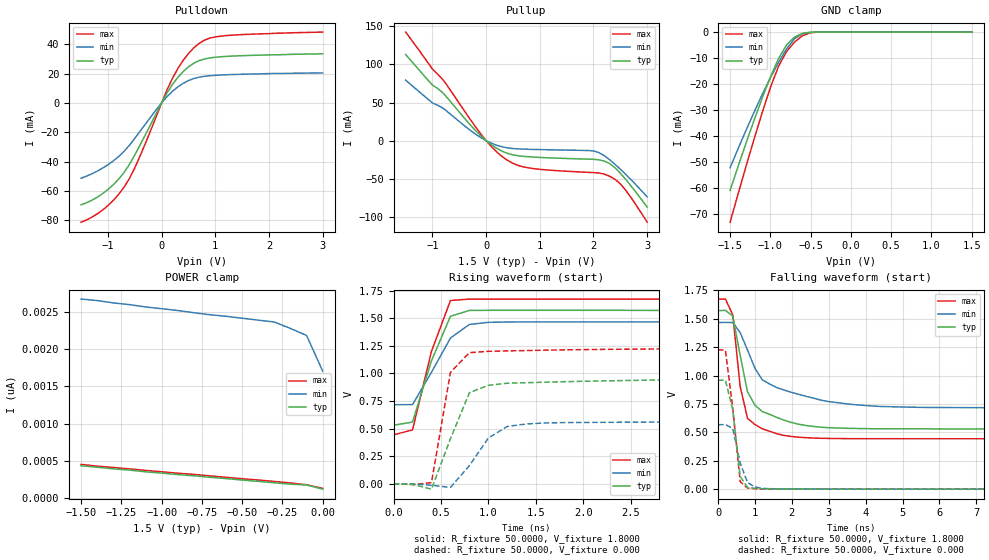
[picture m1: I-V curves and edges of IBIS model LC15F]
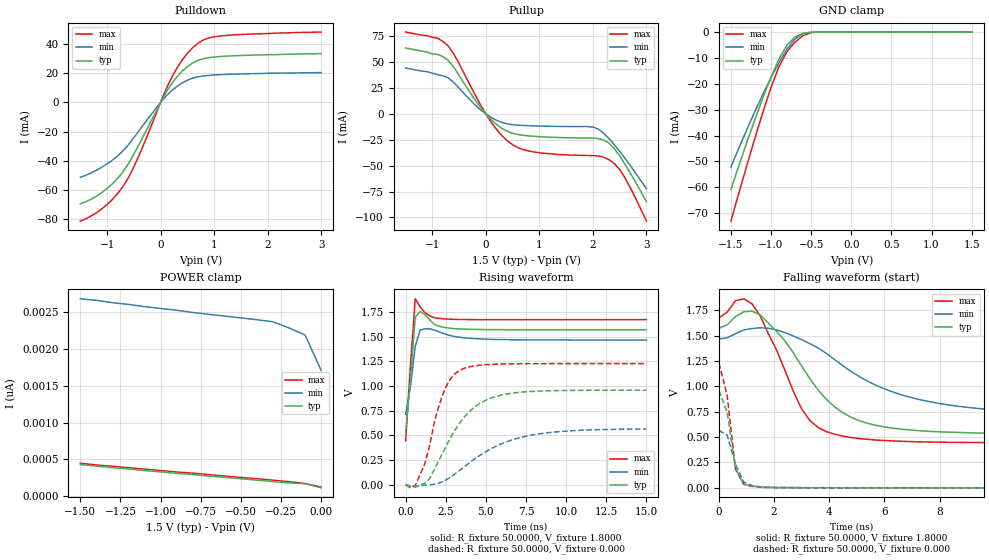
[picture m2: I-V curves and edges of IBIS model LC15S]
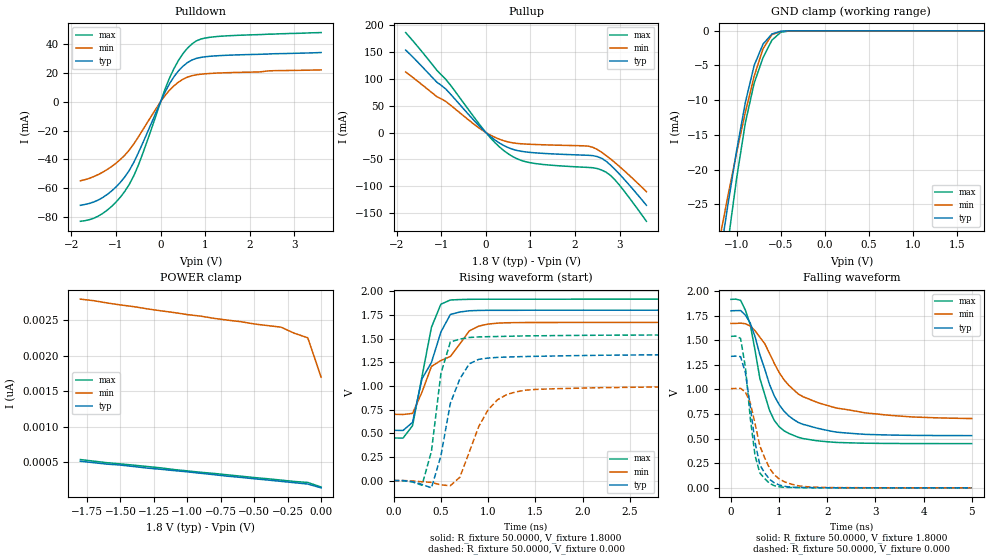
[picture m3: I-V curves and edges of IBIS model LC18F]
| Xilinx CoolRunner-II IBIS models
[IBIS ver]   2.1
[File name]   coolrun2.ibs
[File Rev]   0.3
[Date]   Oct. 30, 2003
[Source]   HSPICE simulations
[Notes]   Xilinx IBIS models for CoolRunner-II
|   The available package models are
|   XC2C32  - CP56, VQ44 and PC44
|   XC2C64  - CP56, VQ44, VQ100 and PC44
|   XC2C128 - FT256, TQ144, CP132 and VQ100
|   XC2C256 - FT256, PQ208, TQ144, CP132, and VQ100
|   XC2C384 - FG324, FT256, PQ208, and TQ144
|   XC2C512 - FG324, FT256, and PQ208
|   with CP56 being selected as a default.
|   Please make your own selection of the packages by
|   commenting out the unused ones.
|   Model names:
|   lc15f - LVCMOS 1.5V & fast slew rate
|   lc15s - LVCMOS 1.5V & slow slew rate
|   lc18f - LVCMOS 1.8V & fast slew rate
|   lc18s - LVCMOS 1.8V & slow slew rate
|   lc25f - LVCMOS 2.5V & fast slew rate
|   lc25s - LVCMOS 2.5V & slow slew rate
|   lc33f - LVCMOS 3.3V & fast slew rate
|   lc33s - LVCMOS 3.3V & slow slew rate
|   hs15f  - HSTL1 1.5V & fast slew rate
|   hs15s  - HSTL1 1.5V & slow slew rate
|   ss25f  - SSTL2-1 2.5V & fast slew rate
|   ss25s  - SSTL2-1 2.5V & slow slew rate
|   ss33f  - SSTL3-1 3.3V & fast slew rate
|   ss33s  - SSTL3-1 3.3V & slow slew rate
|   lt33f  - LVTTL 3.3V & fast slew rate
|   lt33s  - LVTTL 3.3V & slow slew rate
|   COMMENTS: Models include process corners for MIN and MAX
[Disclaimer]   The data in this model is derived from SPICE simulations
|   using modeling information extracted from the target pro-
|   cess. While a great deal of care has been take to provide
|   information that is accurate, this model is considered
|   preliminary as it has not been verified by actual silicon
|   measurement. Treat the data in this model as preliminary
|   until actual silicon verification is performed.
[Copyright]   Copyright 2003, Xilinx Inc., All rights reserved
[Component]   XC2Ck
[Manufacturer]   Xilinx Inc.
[Package]
|   Component XC2C32
|   >>> Make Your Selection of the Package type Below <<<
| For package type CP56
| variable   typ   min   max
R_pkg   89.0000m   75.0000m   103.000m
L_pkg   1.8500nH   1.5000nH   2.2000nH
C_pkg   0.3500pF   0.3000pF   0.4000pF
| For package type VQ44
| variable   typ   min   max
|R_pkg   57.0000m   54.0000m   60.0000m
|L_pkg   2.2500nH   2.1000nH   2.4000nH
|C_pkg   0.3000pF   0.3000pF   0.3000pF
| For package type PC44
| variable   typ   min   max
|R_pkg   67.5000m   66.0000m   69.0000m
|L_pkg   3.9500nH   3.6000nH   4.3000nH
|C_pkg   0.9000pF   0.8000pF   1.0000pF
|   Component XC2C64
|   >>> Make Your Selection of the Package type Below <<<
| For package type CP56
| variable   typ   min   max
|R_pkg   89.0000m   75.0000m   103.000m
|L_pkg   1.8500nH   1.5000nH   2.2000nH
|C_pkg   0.3500pF   0.3000pF   0.4000pF
| For package type VQ44
| variable   typ   min   max
|R_pkg   57.0000m   54.0000m   60.0000m
|L_pkg   2.2500nH   2.1000nH   2.4000nH
|C_pkg   0.3000pF   0.3000pF   0.3000pF
| For package type VQ100
| variable   typ   min   max
|R_pkg   119.500m   115.000m   124.000m
|L_pkg   6.1000nH   5.5000nH   6.7000nH
|C_pkg   0.6500pF   0.5000pF   0.8000pF
| For package type PC44
| variable   typ   min   max
|R_pkg   67.5000m   66.0000m   69.0000m
|L_pkg   3.9500nH   3.6000nH   4.3000nH
|C_pkg   0.9000pF   0.8000pF   1.0000pF
|   Component XC2C128
|   >>> Make Your Selection of the Package type Below <<<
| For package type FT256
| variable   typ   min   max
|R_pkg   188.500m   143.000m   234.000m
|L_pkg   4.9500nH   3.4000nH   6.5000nH
|C_pkg   0.7500pF   0.5000pF   1.0000pF
| For package type TQ144
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[Pin]  signal_name   model_name   R_pin   L_pin   C_pin
lc15f  lc15f   LC15F   NA   NA   NA
lc15s  lc15s   LC15S   NA   NA   NA
lc18f  lc18f   LC18F   NA   NA   NA
lc18s  lc18s   LC18S   NA   NA   NA
lc25f  lc25f   LC25F   NA   NA   NA
lc25s  lc25s   LC25S   NA   NA   NA
lc33f  lc33f   LC33F   NA   NA   NA
lc33s  lc33s   LC33S   NA   NA   NA
hs15f  hs15f   HS15F   NA   NA   NA
hs15s  hs15s   HS15S   NA   NA   NA
ss25f  ss25f   SS25F   NA   NA   NA
ss25s  ss25s   SS25S   NA   NA   NA
ss33f  ss33f   SS33F   NA   NA   NA
ss33s  ss33s   SS33S   NA   NA   NA
lt33f  lt33f   LT33F   NA   NA   NA
lt33s  lt33s   LT33S   NA   NA   NA
Vddio  vddio   POWER   NA   NA   NA
vgnd   gnd   GND   NA   NA   NA
| Models and submodels in the file (16): LC15F (I/O), LC15S (I/O), LC18F (I/O), LC18S (I/O), LC25F (I/O), LC25S (I/O), LC33F (I/O), LC33S (I/O), HS15F (I/O), HS15S (I/O), SS25F (I/O), SS25S (I/O), SS33F (I/O), SS33S (I/O), LT33F (I/O), LT33S (I/O)
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|   Model LC15F
[Model]   LC15F
Model_type   I/O
Polarity   Inverting
Enable   Active-High
Vinl =   0.3000V
Vinh =   1.2000V
Vmeas =   0.9000V
Cref =  35.0000pF
Rref =  75.0000
Vref =  0.75000V
C_comp   1.4810pF   0.9482pF   2.0140pF
[Temperature Range]   25.0000   100.0000   0.000
[Voltage Range]   1.5000V   1.4000V   1.6000V
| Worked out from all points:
|   slope of the pulldown table from 0 to 0.225 V, typ, clamps not added: 16.5 ohm
|   slope of the pullup table from 0 to 0.225 V, typ, clamps not added: 20.3 ohm
|   GND clamp passes 1 mA (typ) near -0.64 V on its own axis
|   rising waveform, R_fixture 50.0000, V_fixture 1.8000: 20-80 % time 258ps typ, 295ps min, 242ps max; typ from 0.531 V to 1.57 V
|   rising waveform, R_fixture 50.0000, V_fixture 0.000: 20-80 % time 266ps typ, 324ps min, 147ps max; typ from 0 V to 0.958 V
|   falling waveform, R_fixture 50.0000, V_fixture 1.8000: 20-80 % time 511ps typ, 1.17ns min, 319ps max; typ from 1.57 V to 0.531 V
|   falling waveform, R_fixture 50.0000, V_fixture 0.000: 20-80 % time 226ps typ, 282ps min, 250ps max; typ from 0.959 V to 0 V
[Pulldown]
| voltage   I(typ)   I(min)   I(max)
-1.5V     -69.49mA   -51.4mA    -81.39mA
-1.1V     -61.91mA   -44.52mA   -73.13mA
-900mV    -55.8mA    -39.58mA   -66.53mA
-700mV    -47.49mA   -33.1mA    -57.51mA
-500mV    -35.5mA    -24.2mA    -44.34mA
0V        4.5pA      4.3pA      4.8pA
200mV     12.46mA    7.837mA    16.59mA
400mV     21.32mA    13.28mA    28.93mA
700mV     28.84mA    17.55mA    40.58mA
900mV     30.67mA    18.5mA     44.18mA
1.2V      31.68mA    19.15mA    45.86mA
3V        33.46mA    20.43mA    48.27mA
[Pullup]
| voltage   I(typ)   I(min)   I(max)
-1.5V     112.9mA    79.38mA    142.3mA
-1V       72.98mA    49.51mA    93.93mA
-800mV    62.36mA    42.48mA    79.56mA
-100mV    6.397mA    4.027mA    8.879mA
300mV     -13.87mA   -8.073mA   -20.93mA
500mV     -18.61mA   -10.31mA   -29.69mA
800mV     -21.1mA    -11.27mA   -35.76mA
2V        -24.43mA   -13.47mA   -41.82mA
2.2V      -26.69mA   -19.61mA   -43.77mA
2.3V      -29.94mA   -24.91mA   -46.59mA
2.5V      -42.64mA   -37.36mA   -56.55mA
3V        -87.09mA   -73.62mA   -106.8mA
[GND_clamp]
| voltage   I(typ)   I(min)   I(max)
-1.5V     -60.81mA   -52.1mA    -73.01mA
-1.3V     -42.45mA   -37.55mA   -51.33mA
-1.1V     -25.24mA   -23.93mA   -30.77mA
-1V       -17.32mA   -17.59mA   -21.32mA
-900mV    -10.29mA   -11.7mA    -13.23mA
-800mV    -4.968mA   -6.51mA    -7.511mA
-700mV    -1.912mA   -2.584mA   -3.865mA
-600mV    -461.6uA   -562.2uA   -1.358mA
-500mV    -51.62uA   -96uA      -215.1uA
-400mV    -3.509uA   -19.18uA   -14.57uA
1.5V      115.8pA    2.586nA    106.4pA
[POWER_clamp]
| voltage   I(typ)   I(min)   I(max)
-1.5V     431pA      2.676nA    449.8pA
-1.4V     410.7pA    2.656nA    425.7pA
-1.3V     389.6pA    2.624nA    407.8pA
-1.2V     372.9pA    2.601nA    389.2pA
-1.1V     349.6pA    2.57nA     369.1pA
-900mV    311.9pA    2.522nA    330.7pA
-700mV    275.6pA    2.465nA    295pA
-600mV    258.2pA    2.444nA    275.5pA
-300mV    201.4pA    2.367nA    219.3pA
-200mV    182.9pA    2.28nA     199.6pA
-100mV    172.8pA    2.186nA    174.4pA
0V        115.8pA    1.706nA    127.2pA
[Ramp]
| variable   typ   min   max
dV/dt_r   0.5750/0.2136n   0.3398/0.2711n   0.7368/0.1541n
dV/dt_f   0.6526/0.3620n   0.4912/0.7314n   0.7594/0.2513n
R_load = 50.0000
[Rising Waveform]
R_fixture = 50.0000
V_fixture = 1.8000
V_fixture_min = 1.6000
V_fixture_max = 2.0000
L_fixture = 0.000H
C_fixture = 0.000F
| time   V(typ)   V(min)   V(max)
0s        530.7mV    716.8mV    443.9mV
200ps     559.3mV    717.6mV    487.8mV
400ps     1.116V     1.011V     1.201V
600ps     1.519V     1.322V     1.662V
800ps     1.572V     1.445V     1.675V
1ns       1.573V     1.464V     1.675V
1.2ns     1.573V     1.467V     1.675V
10ns      1.572V     1.467V     1.674V
[Rising Waveform]
R_fixture = 50.0000
V_fixture = 0.000
V_fixture_min = 0.000
V_fixture_max = 0.000
L_fixture = 0.000H
C_fixture = 0.000F
| time   V(typ)   V(min)   V(max)
0s        0V         0V         0V
200ps     -5.224mV   -1.414mV   -7.473mV
400ps     -49.26mV   -13.96mV   10.4mV
600ps     408.9mV    -33.38mV   1.01V
800ps     826.1mV    164.8mV    1.189V
1ns       893.3mV    415.3mV    1.201V
1.2ns     911.7mV    520.2mV    1.205V
1.6ns     921.2mV    551.6mV    1.212V
4.4ns     951.8mV    563.4mV    1.226V
10ns      958.3mV    566.4mV    1.228V
[Falling Waveform]
R_fixture = 50.0000
V_fixture = 1.8000
V_fixture_min = 1.6000
V_fixture_max = 2.0000
L_fixture = 0.000H
C_fixture = 0.000F
| time   V(typ)   V(min)   V(max)
0s        1.572V     1.467V     1.674V
200ps     1.575V     1.469V     1.674V
400ps     1.524V     1.466V     1.534V
600ps     1.178V     1.379V     904.2mV
800ps     856.5mV    1.225V     623.4mV
1ns       740.1mV    1.064V     569.3mV
1.2ns     682.7mV    962.9mV    531.4mV
2.2ns     571mV      833.6mV    457.3mV
3.8ns     534mV      741.5mV    444.7mV
10ns      530.7mV    716.9mV    443.9mV
[Falling Waveform]
R_fixture = 50.0000
V_fixture = 0.000
V_fixture_min = 0.000
V_fixture_max = 0.000
L_fixture = 0.000H
C_fixture = 0.000F
| time   V(typ)   V(min)   V(max)
0s        958.6mV    566.7mV    1.228V
200ps     960.2mV    569mV      1.224V
400ps     697.3mV    535mV      711.3mV
600ps     114mV      231.3mV    66.11mV
800ps     14.46mV    57.57mV    9.29mV
1ns       6.21mV     19.62mV    4.443mV
1.2ns     3.599mV    6.544mV    2.59mV
1.6ns     2.007mV    2.917mV    1.098mV
10ns      0V         8.39uV     1.191uV
|   Model LC15S
[Model]   LC15S
Model_type   I/O
Polarity   Inverting
Enable   Active-High
Vinl =   0.30000V
Vinh =   1.20000V
Vmeas =  0.7500V
Cref =  35.0000pF
Rref =  75.0000
Vref =  0.7500V
C_comp   1.4810pF   0.9482pF   2.0140pF
[Temperature Range]   25.0000   100.0000   0.000
[Voltage Range]   1.5000V   1.4000V   1.6000V
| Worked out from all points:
|   slope of the pulldown table from 0 to 0.225 V, typ, clamps not added: 16.5 ohm
|   slope of the pullup table from 0 to 0.225 V, typ, clamps not added: 20.3 ohm
|   GND clamp passes 1 mA (typ) near -0.64 V on its own axis
|   rising waveform, R_fixture 50.0000, V_fixture 1.8000: 20-80 % time 324ps typ, 372ps min, 299ps max; typ from 0.528 V to 1.57 V
|   rising waveform, R_fixture 50.0000, V_fixture 0.000: 20-80 % time 2.24ns typ, 3.47ns min, 1.24ns max; typ from 0 V to 0.958 V
|   falling waveform, R_fixture 50.0000, V_fixture 1.8000: 20-80 % time 1.88ns typ, 3.3ns min, 1.27ns max; typ from 1.57 V to 0.531 V
|   falling waveform, R_fixture 50.0000, V_fixture 0.000: 20-80 % time 335ps typ, 434ps min, 345ps max; typ from 0.959 V to 0 V
[Pulldown]
| voltage   I(typ)   I(min)   I(max)
-1.5V     -69.49mA   -51.4mA    -81.39mA
-1.1V     -61.91mA   -44.52mA   -73.13mA
-900mV    -55.8mA    -39.58mA   -66.53mA
-700mV    -47.49mA   -33.1mA    -57.51mA
-500mV    -35.5mA    -24.2mA    -44.34mA
0V        4.5pA      4.3pA      4.8pA
200mV     12.46mA    7.837mA    16.59mA
400mV     21.32mA    13.28mA    28.93mA
700mV     28.84mA    17.55mA    40.58mA
900mV     30.67mA    18.5mA     44.18mA
1.2V      31.68mA    19.15mA    45.86mA
3V        33.46mA    20.43mA    48.27mA
[Pullup]
| voltage   I(typ)   I(min)   I(max)
-1.5V     63.86mA    44.51mA    79.3mA
-900mV    57.58mA    38.03mA    73.28mA
-700mV    51.62mA    34.8mA     65.47mA
0V        14.6pA     -21pA      17.5pA
300mV     -13.87mA   -8.073mA   -20.93mA
500mV     -18.61mA   -10.31mA   -29.69mA
1V        -21.88mA   -11.61mA   -37.42mA
2.1V      -23.6mA    -14.54mA   -40.45mA
2.3V      -28.07mA   -23.7mA    -44.18mA
2.5V      -40.47mA   -36.08mA   -53.57mA
2.7V      -57.11mA   -49.88mA   -71.37mA
3V        -84.75mA   -72.26mA   -103.4mA
[GND_clamp]
| voltage   I(typ)   I(min)   I(max)
-1.5V     -60.81mA   -52.1mA    -73.01mA
-1.3V     -42.45mA   -37.55mA   -51.33mA
-1.1V     -25.24mA   -23.93mA   -30.77mA
-1V       -17.32mA   -17.59mA   -21.32mA
-900mV    -10.29mA   -11.7mA    -13.23mA
-800mV    -4.968mA   -6.51mA    -7.511mA
-700mV    -1.912mA   -2.584mA   -3.865mA
-600mV    -461.6uA   -562.2uA   -1.358mA
-500mV    -51.62uA   -96uA      -215.1uA
-400mV    -3.509uA   -19.18uA   -14.57uA
1.5V      115.7pA    2.587nA    106.3pA
[POWER_clamp]
| voltage   I(typ)   I(min)   I(max)
-1.5V     431pA      2.676nA    449.6pA
-1.4V     410.5pA    2.656nA    425.6pA
-1.3V     389.5pA    2.624nA    408pA
-1.2V     372.8pA    2.601nA    389.1pA
-1.1V     349.4pA    2.57nA     368.9pA
-900mV    311.9pA    2.522nA    330.5pA
-800mV    295.9pA    2.492nA    314.9pA
-300mV    201.4pA    2.366nA    219.2pA
-200mV    182.8pA    2.282nA    199.4pA
-100mV    173.1pA    2.186nA    173.7pA
0V        115.7pA    1.707nA    127.2pA
[Ramp]
| variable   typ   min   max
dV/dt_r   0.5750/2.2343n   0.3385/3.4706n   0.7368/1.3028n
dV/dt_f   0.6524/1.8766n   0.4881/3.2537n   0.7594/1.4027n
R_load = 50.0000
[Rising Waveform]
R_fixture = 50.0000
V_fixture = 1.8000
V_fixture_min = 1.6000
V_fixture_max = 2.0000
L_fixture = 0.000H
C_fixture = 0.000F
| time   V(typ)   V(min)   V(max)
0s        527.8mV    713.8mV    443.1mV
300ps     1.08V      993.5mV    1.219V
600ps     1.698V     1.408V     1.885V
900ps     1.757V     1.568V     1.804V
1.5ns     1.672V     1.581V     1.712V
1.8ns     1.625V     1.568V     1.694V
2.4ns     1.596V     1.53V      1.682V
3.3ns     1.581V     1.496V     1.676V
5.1ns     1.573V     1.476V     1.674V
15ns      1.572V     1.467V     1.674V
[Rising Waveform]
R_fixture = 50.0000
V_fixture = 0.000
V_fixture_min = 0.000
V_fixture_max = 0.000
L_fixture = 0.000H
C_fixture = 0.000F
| time   V(typ)   V(min)   V(max)
0s        30.73uV    481.8uV    -1.466mV
600ps     -24.37mV   -19.77mV   -6.965mV
1.5ns     63.1mV     -2.256mV   402mV
1.8ns     159.4mV    4.427mV    642.3mV
2.4ns     353.3mV    37.64mV    951.9mV
3.3ns     610.6mV    136.2mV    1.154V
4.5ns     811.2mV    283.1mV    1.21V
6.3ns     919.6mV    435.5mV    1.225V
9.3ns     953.6mV    534.2mV    1.228V
15ns      958.4mV    564.2mV    1.228V
[Falling Waveform]
R_fixture = 50.0000
V_fixture = 1.8000
V_fixture_min = 1.6000
V_fixture_max = 2.0000
L_fixture = 0.000H
C_fixture = 0.000F
| time   V(typ)   V(min)   V(max)
0s        1.573V     1.467V     1.675V
600ps     1.687V     1.519V     1.843V
1.2ns     1.741V     1.57V      1.813V
2.1ns     1.538V     1.556V     1.351V
3ns       1.2V       1.46V      777mV
3.6ns     962.9mV    1.377V     594mV
4.2ns     796.7mV    1.262V     527.5mV
5.4ns     634.6mV    1.05V      477.4mV
7.8ns     554.6mV    840.5mV    450.9mV
15ns      531.2mV    724.4mV    444mV
[Falling Waveform]
R_fixture = 50.0000
V_fixture = 0.000
V_fixture_min = 0.000
V_fixture_max = 0.000
L_fixture = 0.000H
C_fixture = 0.000F
| time   V(typ)   V(min)   V(max)
0s        959.3mV    566.2mV    1.229V
300ps     744.3mV    519.6mV    909mV
600ps     193.3mV    231.3mV    185.7mV
900ps     35.58mV    57.24mV    34.02mV
1.2ns     17.29mV    22.93mV    13.88mV
1.5ns     9.698mV    9.307mV    6.451mV
1.8ns     4.936mV    5.949mV    2.546mV
15ns      1.861uV    13.87uV    0V
|   Model LC18F
[Model]   LC18F
Model_type   I/O
Polarity   Inverting
Enable   Active-High
Vinl =   0.36000V
Vinh =   1.26000V
Vmeas =   0.9000V
Cref =  35.0000pF
Rref =  56.0000
Vref =  0.9000V
C_comp   1.4810pF   0.9482pF   2.0140pF
[Temperature Range]   25.0000   100.0000   0.000
[Voltage Range]   1.8000V   1.7000V   1.9000V
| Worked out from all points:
|   slope of the pulldown table from 0 to 0.27 V, typ, clamps not added: 17 ohm
|   slope of the pullup table from 0 to 0.27 V, typ, clamps not added: 15.3 ohm
|   GND clamp passes 1 mA (typ) near -0.64 V on its own axis
|   rising waveform, R_fixture 50.0000, V_fixture 1.8000: 20-80 % time 256ps typ, 443ps min, 170ps max; typ from 0.531 V to 1.8 V
|   rising waveform, R_fixture 50.0000, V_fixture 0.000: 20-80 % time 197ps typ, 288ps min, 131ps max; typ from 0 V to 1.33 V
|   falling waveform, R_fixture 50.0000, V_fixture 1.8000: 20-80 % time 600ps typ, 960ps min, 430ps max; typ from 1.8 V to 0.531 V
|   falling waveform, R_fixture 50.0000, V_fixture 0.000: 20-80 % time 255ps typ, 371ps min, 213ps max; typ from 1.34 V to 0 V
[Pulldown]
| voltage   I(typ)   I(min)   I(max)
-1.8V     -71.81mA   -54.84mA   -82.9mA
-1.5V     -69.49mA   -51.9mA    -80.79mA
-1.2V     -64.37mA   -47.05mA   -75.24mA
-900mV    -55.8mA    -39.97mA   -66.09mA
-700mV    -47.49mA   -33.42mA   -57.13mA
-500mV    -35.5mA    -24.46mA   -44.05mA
200mV     12.46mA    7.971mA    16.42mA
400mV     21.32mA    13.55mA    28.59mA
700mV     28.84mA    18.01mA    39.96mA
900mV     30.67mA    19.03mA    43.37mA
1.3V      31.88mA    19.86mA    45.25mA
3.6V      34.07mA    22.02mA    47.9mA
[Pullup]
| voltage   I(typ)   I(min)   I(max)
-1.8V     153.5mA    112.8mA    186mA
-1.1V     93.58mA    66.76mA    115.8mA
-800mV    72.05mA    51.3mA     88.72mA
-100mV    8.008mA    5.369mA    10.44mA
400mV     -24.16mA   -15.28mA   -33.55mA
700mV     -33.47mA   -20.28mA   -48.91mA
1V        -37.08mA   -21.92mA   -56.25mA
2.3V      -42.4mA    -25.41mA   -64.98mA
2.5V      -44.8mA    -31.66mA   -67.1mA
2.7V      -53.68mA   -43.08mA   -74.03mA
3V        -77.83mA   -63.53mA   -98.34mA
3.6V      -135.4mA   -110.1mA   -165.2mA
[GND_clamp]
| voltage   I(typ)   I(min)   I(max)
-1.8V     -89.59mA   -75.16mA   -106.6mA
-1.2V     -33.66mA   -30.6mA    -40.86mA
-1.1V     -25.24mA   -23.93mA   -30.77mA
-1V       -17.32mA   -17.6mA    -21.32mA
-900mV    -10.29mA   -11.7mA    -13.23mA
-800mV    -4.969mA   -6.512mA   -7.511mA
-700mV    -1.912mA   -2.585mA   -3.865mA
-600mV    -461.7uA   -562.3uA   -1.358mA
-500mV    -51.62uA   -96uA      -215.1uA
-400mV    -3.51uA    -19.18uA   -14.57uA
1.8V      138.1pA    2.651nA    129.3pA
[POWER_clamp]
| voltage   I(typ)   I(min)   I(max)
-1.8V     512.6pA    2.798nA    536.7pA
-1.7V     492.5pA    2.776nA    514.3pA
-1.6V     472.5pA    2.744nA    492.6pA
-1.5V     459.1pA    2.716nA    475.7pA
-1.3V     416.2pA    2.661nA    438.8pA
-800mV    323.3pA    2.527nA    341.2pA
-600mV    285.2pA    2.48nA     302.6pA
-500mV    266pA      2.448nA    283.2pA
-300mV    229.6pA    2.403nA    247.3pA
-200mV    210.2pA    2.317nA    228.1pA
-100mV    191.8pA    2.253nA    214.5pA
0V        138pA      1.697nA    149.9pA
[Ramp]
| variable   typ   min   max
dV/dt_r   0.8010/0.1675n   0.6018/0.2742n   0.9240/0.1081n
dV/dt_f   0.7613/0.5688n   0.5514/1.0399n   0.8879/0.3752n
R_load = 50.0000
[Rising Waveform]
R_fixture = 50.0000
V_fixture = 1.8000
V_fixture_min = 1.6000
V_fixture_max = 2.0000
L_fixture = 0.000H
C_fixture = 0.000F
| time   V(typ)   V(min)   V(max)
0s        530.7mV    699.7mV    449.6mV
100ps     528.8mV    697.7mV    448.9mV
200ps     614.7mV    709.3mV    579.5mV
300ps     1.075V     934.1mV    1.098V
400ps     1.247V     1.205V     1.619V
500ps     1.57V      1.268V     1.863V
600ps     1.754V     1.311V     1.907V
800ps     1.793V     1.58V      1.914V
1.1ns     1.798V     1.663V     1.915V
5ns       1.799V     1.671V     1.916V
[Rising Waveform]
R_fixture = 50.0000
V_fixture = 0.000
V_fixture_min = 0.000
V_fixture_max = 0.000
L_fixture = 0.000H
C_fixture = 0.000F
| time   V(typ)   V(min)   V(max)
0s        0V         0V         0V
300ps     -40.19mV   -13.02mV   -49.58mV
400ps     -76.96mV   -19mV      309.5mV
500ps     261.5mV    -45.98mV   1.131V
600ps     816.3mV    -53.85mV   1.464V
700ps     1.073V     34.95mV    1.494V
800ps     1.233V     301.3mV    1.511V
1ns       1.294V     749.4mV    1.52V
1.3ns     1.308V     938.1mV    1.526V
5ns       1.335V     1.003V     1.54V
[Falling Waveform]
R_fixture = 50.0000
V_fixture = 1.8000
V_fixture_min = 1.6000
V_fixture_max = 2.0000
L_fixture = 0.000H
C_fixture = 0.000F
| time   V(typ)   V(min)   V(max)
0s        1.8V       1.671V     1.916V
200ps     1.802V     1.675V     1.907V
300ps     1.756V     1.668V     1.806V
400ps     1.676V     1.646V     1.661V
600ps     1.354V     1.531V     1.114V
800ps     1.054V     1.369V     788.7mV
1.1ns     781mV      1.101V     580.8mV
1.5ns     645.1mV    925.7mV    500.8mV
2.2ns     565.9mV    810.4mV    461.6mV
5ns       531.1mV    704.8mV    449.7mV
[Falling Waveform]
R_fixture = 50.0000
V_fixture = 0.000
V_fixture_min = 0.000
V_fixture_max = 0.000
L_fixture = 0.000H
C_fixture = 0.000F
| time   V(typ)   V(min)   V(max)
0s        1.337V     1.009V     1.54V
200ps     1.333V     1.012V     1.52V
300ps     1.171V     973.1mV    1.228V
400ps     833mV      868.4mV    715.7mV
500ps     464.4mV    654.5mV    328.7mV
600ps     233mV      426mV      151.2mV
800ps     87.63mV    201.3mV    46.92mV
1.1ns     16.41mV    64.36mV    6.302mV
1.5ns     3.473mV    14.19mV    1.671mV
5ns       15.63uV    57.06uV    2.664uV
